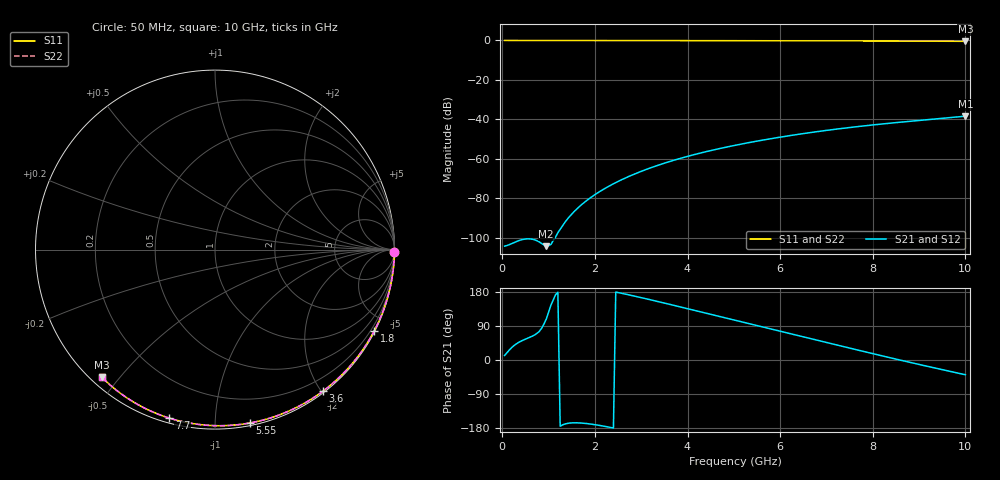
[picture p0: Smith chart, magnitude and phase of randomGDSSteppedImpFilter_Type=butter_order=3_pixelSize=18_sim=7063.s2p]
! freq	dB(S11)	phase(S11)	dB(S12)	phase(S12)
!  dB(S21)	phase(S21)	dB(S22)	phase(S22)
!S-par simulation data
#  GHz  S  DB  R 50
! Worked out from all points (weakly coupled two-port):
!   200 points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, 50 MHz to 10 GHz, reference 50 ohm
!   highest |S21| = -38.41 dB at 10 GHz (marker M1); lowest = -104.4 dB at 950 MHz (marker M2)
!   lowest |S11| = -0.4 dB at 10 GHz (marker M3), VSWR 39.32, Z = 1.53 - j22.5 ohm
!   |S11| at or under -10 dB: nowhere
!   |S22| runs from -0.4 to 0.0 dB; largest |S21 - S12| = 0
!   S11 on the Smith chart (normalised r, x): 50 MHz: open; 1.8 GHz: 0.04, -4.17; 3.6 GHz: 0.02, -2.02; 5.55 GHz: 0.02, -1.22; 7.7 GHz: 0.02, -0.76; 10 GHz: 0.03, -0.45
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0.05  -0.00 -0.8  -104.35 12.0  -104.35 12.0  -0.00 -0.8
0.5  -0.01 -7.6  -100.73 55.1  -100.73 55.1  -0.01 -7.6
0.95  -0.02 -14.4  -104.36 108.2  -104.36 108.2  -0.02 -14.4
1.75  -0.03 -26.2  -82.56 -166.8  -82.56 -166.8  -0.03 -26.2
1.8  -0.03 -27.0  -81.61 -167.4  -81.61 -167.4  -0.03 -27.0
1.9  -0.04 -28.4  -79.85 -168.9  -79.85 -168.9  -0.04 -28.4
2.05  -0.04 -30.6  -77.45 -171.6  -77.45 -171.6  -0.04 -30.6
2.25  -0.04 -33.5  -74.61 -175.9  -74.61 -175.9  -0.04 -33.5
2.45  -0.05 -36.4  -72.10 179.3  -72.10 179.3  -0.05 -36.4
2.65  -0.05 -39.3  -69.85 174.1  -69.85 174.1  -0.05 -39.3
3  -0.06 -44.3  -66.39 164.6  -66.39 164.6  -0.06 -44.3
3.4  -0.07 -49.9  -63.02 153.1  -63.02 153.1  -0.07 -49.9
3.6  -0.07 -52.7  -61.51 147.3  -61.51 147.3  -0.07 -52.7
4.3  -0.09 -62.3  -56.99 126.5  -56.99 126.5  -0.09 -62.3
5.05  -0.11 -72.3  -53.07 104.2  -53.07 104.2  -0.11 -72.3
5.55  -0.13 -78.7  -50.85 89.3  -50.85 89.3  -0.13 -78.8
6.1  -0.15 -85.7  -48.67 73.0  -48.67 73.0  -0.15 -85.7
6.7  -0.18 -93.1  -46.57 55.2  -46.57 55.2  -0.18 -93.1
7.7  -0.24 -105.2  -43.63 25.5  -43.63 25.5  -0.24 -105.2
8.35  -0.29 -112.8  -42.03 6.6  -42.03 6.6  -0.29 -112.8
9.15  -0.36 -121.9  -40.26 -15.9  -40.26 -15.9  -0.36 -121.9
10  -0.44 -131.6  -38.41 -38.9  -38.41 -38.9  -0.44 -131.6
